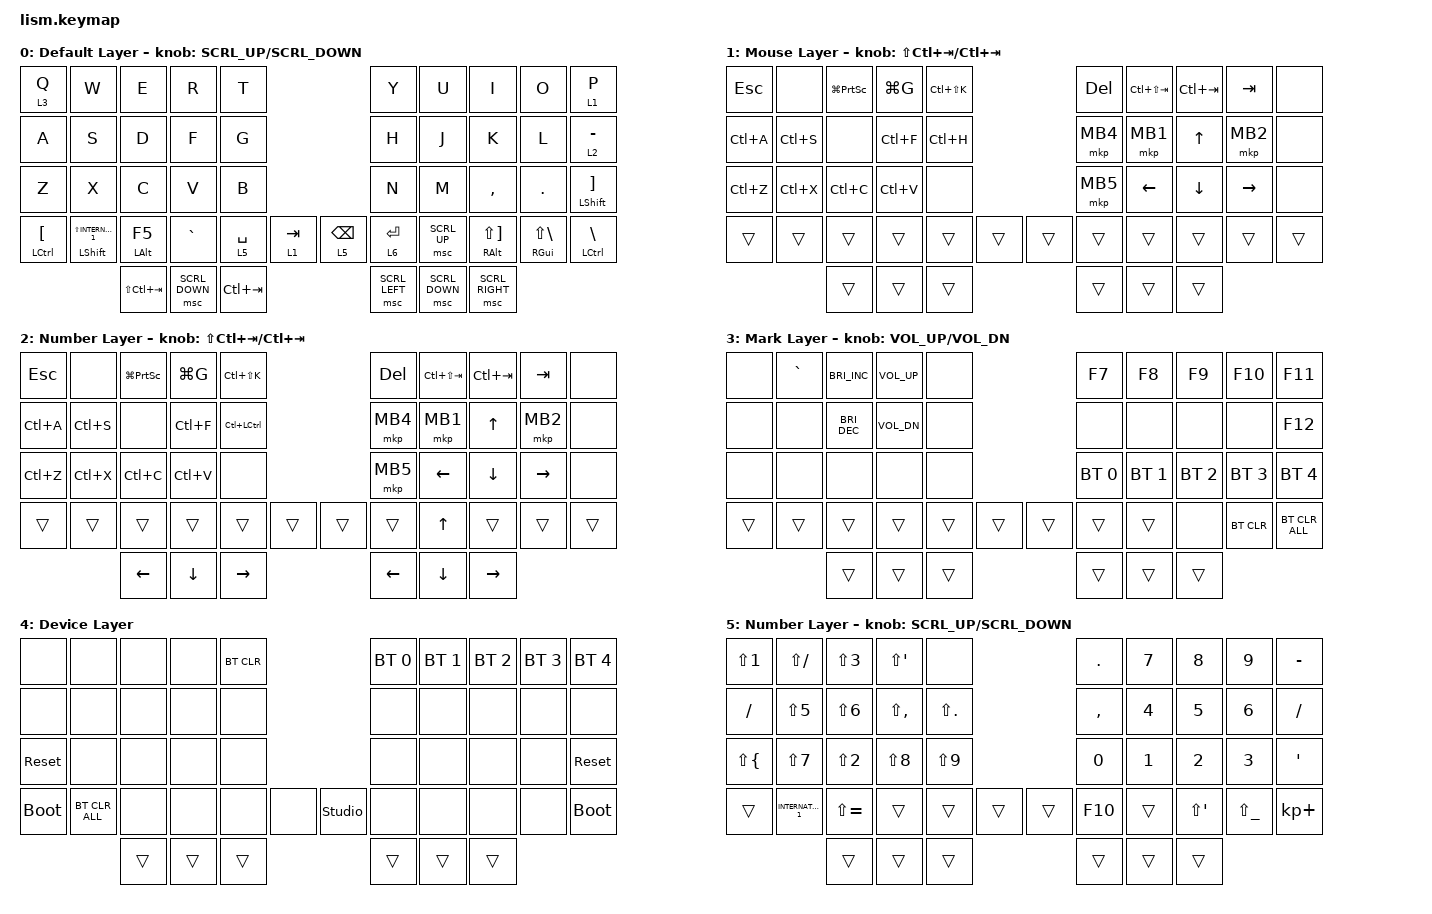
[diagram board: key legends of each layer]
#define ZMK_POINTING_DEFAULT_SCRL_VAL 200

#include <dt-bindings/zmk/mouse.h>
#include <behaviors.dtsi>
#include <dt-bindings/zmk/bt.h>
#include <dt-bindings/zmk/keys.h>
#include <dt-bindings/zmk/pointing.h>

&mt {
    tapping-term-ms = <300>;
    flavor = "balanced";
};

&lt { quick-tap-ms = <300>; };

/ {
    macros {
        emoji: emoji_macro {
            compatible = "zmk,behavior-macro";
            label = "EMOJI";
            #binding-cells = <0>;
            bindings =
                <&macro_press>,
                <&kp CAPSLOCK>,
                <&macro_tap>,
                <&kp E>,
                <&macro_release>,
                <&kp CAPSLOCK>;
        };
    };

    behaviors {
        encoder_msc: sensor_rotate_msc {
            compatible = "zmk,behavior-sensor-rotate-var";
            #sensor-binding-cells = <2>;
            bindings = <&msc>, <&msc>;

            tap-ms = <20>;
        };

        encoder_kp: sensor_rotate_kp {
            compatible = "zmk,behavior-sensor-rotate-var";
            #sensor-binding-cells = <2>;
            bindings = <&kp>, <&kp>;
        };
    };

    keymap {
        compatible = "zmk,keymap";

        default_layer {
            display-name = "Default Layer";
            bindings = <
&lt 3 Q         &kp W                               &kp E            &kp R           &kp T                                      &kp Y           &kp U           &kp I                   &kp O                   &lt 1 P
&kp A           &kp S                               &kp D            &kp F           &kp G                                      &kp H           &kp J           &kp K                   &kp L                   &lt 2 MINUS
&kp Z           &kp X                               &kp C            &kp V           &kp B                                      &kp N           &kp M           &kp COMMA               &kp DOT                 &mt LEFT_SHIFT RIGHT_BRACKET
&mt LCTRL LBKT  &mt LEFT_SHIFT LS(INTERNATIONAL_1)  &mt LEFT_ALT F5  &kp GRAVE       &lt 5 SPACE  &lt 1 TAB    &lt 5 BACKSPACE  &lt 6 ENTER     &msc SCRL_UP    &mt RIGHT_ALT LS(RBKT)  &mt RIGHT_GUI LS(BSLH)  &mt LEFT_CONTROL BACKSLASH
                                                    &kp LS(LC(TAB))  &msc SCRL_DOWN  &kp LC(TAB)                                &msc SCRL_LEFT  &msc SCRL_DOWN  &msc SCRL_RIGHT
            >;

            sensor-bindings = <&encoder_msc SCRL_UP SCRL_DOWN>;
        };

        layer_1 {
            display-name = "Mouse Layer";
            bindings = <
&kp ESCAPE  &none      &kp LG(PRINTSCREEN)  &kp LG(G)  &kp LC(LS(K))                    &kp DELETE  &kp LC(LS(TAB))  &kp LC(TAB)     &kp TAB          &none
&kp LC(A)   &kp LC(S)  &none                &kp LC(F)  &kp LC(H)                        &mkp MB4    &mkp MB1         &kp UP_ARROW    &mkp MB2         &none
&kp LC(Z)   &kp LC(X)  &kp LC(C)            &kp LC(V)  &none                            &mkp MB5    &kp LEFT_ARROW   &kp DOWN_ARROW  &kp RIGHT_ARROW  &none
&trans      &trans     &trans               &trans     &trans         &trans    &trans  &trans      &trans           &trans          &trans           &trans
                       &trans               &trans     &trans                           &trans      &trans           &trans
            >;

            sensor-bindings = <&inc_dec_kp LS(LC(TAB)) LC(TAB)>;
        };

        layer_2 {
            display-name = "Number Layer";
            bindings = <
&kp ESCAPE  &none      &kp LG(PRINTSCREEN)  &kp LG(G)  &kp LC(LS(K))                    &kp DEL   &kp LC(LS(TAB))  &kp LC(TAB)  &kp TAB          &none
&kp LC(A)   &kp LC(S)  &none                &kp LC(F)  &kp LC(LCTRL)                    &mkp MB4  &mkp MB1         &kp UP       &mkp MB2         &none
&kp LC(Z)   &kp LC(X)  &kp LC(C)            &kp LC(V)  &none                            &mkp MB5  &kp LEFT_ARROW   &kp DOWN     &kp RIGHT_ARROW  &none
&trans      &trans     &trans               &trans     &trans         &trans    &trans  &trans    &kp UP           &trans       &trans           &trans
                       &kp LEFT             &kp DOWN   &kp RIGHT                        &kp LEFT  &kp DOWN         &kp RIGHT
            >;

            sensor-bindings = <&inc_dec_kp LS(LC(TAB)) LC(TAB)>;
        };

        layer_3 {
            display-name = "Mark Layer";
            bindings = <
&none   &kp GRAVE  &kp C_BRIGHTNESS_INC  &kp C_VOLUME_UP  &none                     &kp F7        &kp F8        &kp F9        &kp F10       &kp F11
&none   &none      &kp C_BRIGHTNESS_DEC  &kp C_VOL_DN     &none                     &none         &none         &none         &none         &kp F12
&none   &none      &none                 &none            &none                     &bt BT_SEL 0  &bt BT_SEL 1  &bt BT_SEL 2  &bt BT_SEL 3  &bt BT_SEL 4
&trans  &trans     &trans                &trans           &trans  &trans    &trans  &trans        &trans        &none         &bt BT_CLR    &bt BT_CLR_ALL
                   &trans                &trans           &trans                    &trans        &trans        &trans
            >;

            sensor-bindings = <&inc_dec_kp C_VOL_UP C_VOL_DN>;
        };

        layer_4 {
            display-name = "Device Layer";
            bindings = <
&none        &none           &none   &none   &bt BT_CLR                           &bt BT_SEL 0  &bt BT_SEL 1  &bt BT_SEL 2  &bt BT_SEL 3  &bt BT_SEL 4
&none        &none           &none   &none   &none                                &none         &none         &none         &none         &none
&sys_reset   &none           &none   &none   &none                                &none         &none         &none         &none         &sys_reset
&bootloader  &bt BT_CLR_ALL  &none   &none   &none       &none    &studio_unlock  &none         &none         &none         &none         &bootloader
                             &trans  &trans  &trans                               &trans        &trans        &trans
            >;
        };

        layer_5 {
            display-name = "Number Layer";
            bindings = <
&kp LS(NUMBER_1)    &kp LS(SLASH)        &kp LS(NUMBER_3)  &kp LS(APOS)      &none                               &kp PERIOD    &kp NUMBER_7  &kp NUMBER_8  &kp NUMBER_9        &kp MINUS
&kp SLASH           &kp LS(N5)           &kp LS(NUMBER_6)  &kp LS(COMMA)     &kp LS(PERIOD)                      &kp COMMA     &kp NUMBER_4  &kp NUMBER_5  &kp NUMBER_6        &kp SLASH
&kp LS(LEFT_BRACE)  &kp LS(NUMBER_7)     &kp LS(NUMBER_2)  &kp LS(NUMBER_8)  &kp LS(NUMBER_9)                    &kp NUMBER_0  &kp NUMBER_1  &kp NUMBER_2  &kp NUMBER_3        &kp APOS
&trans              &kp INTERNATIONAL_1  &kp LS(EQUAL)     &trans            &trans            &trans    &trans  &kp F10       &trans        &kp LS(APOS)  &kp LS(UNDERSCORE)  &kp KP_PLUS
                                         &trans            &trans            &trans                              &trans        &trans        &trans
            >;

            sensor-bindings = <&encoder_msc SCRL_UP SCRL_DOWN>;
        };

        layer_6 {
            status = "reserved";
            display-name = "LEFT_device";
            bindings = <
&none         &kp NUMBER_7  &kp NUMBER_8  &kp NUMBER_9  &none                     &none      &none      &kp LG(PRINTSCREEN)  &kp LG(G)  &kp LS(LC(K))
&none         &kp NUMBER_4  &kp NUMBER_5  &kp NUMBER_6  &none                     &kp LC(A)  &kp LC(S)  &none                &kp LC(F)  &kp LC(H)
&kp NUMBER_0  &kp NUMBER_1  &kp NUMBER_2  &kp NUMBER_3  &none                     &kp LC(Z)  &kp LC(X)  &kp LC(C)            &kp LC(V)  &none
&trans        &trans        &trans        &trans        &trans  &trans    &trans  &trans     &trans     &trans               &trans     &trans
                            &trans        &trans        &trans                    &trans     &trans     &trans
            >;

            sensor-bindings = <&encoder_msc SCRL_UP SCRL_DOWN>;
        };
    };
};
